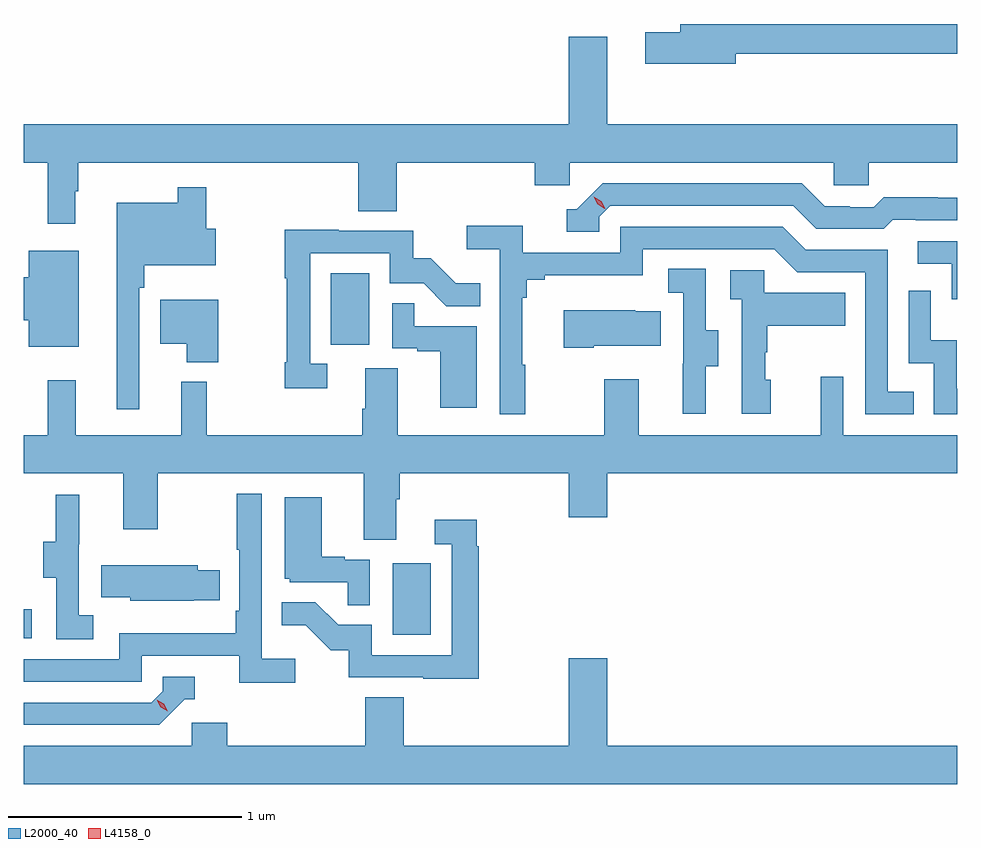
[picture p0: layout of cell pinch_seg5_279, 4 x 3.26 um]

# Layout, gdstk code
import gdstk
lib = gdstk.Library(unit=1e-6, precision=1e-09)
def R(c, l, rs):  # rectangles x0, y0, x1, y1
    for r in rs: c.add(gdstk.rectangle(r[:2], r[2:], *l))
def P(c, l, *ps):  # polygons
    for p in ps: c.add(gdstk.Polygon(p, *l))
L2000_40 = (2000, 40)
L4158_0 = (4158, 0)

pinch_seg5_279 = lib.new_cell('pinch_seg5_279')
R(pinch_seg5_279, L2000_40, [(905.928,896.013,905.962,896.138), (907.508,896.028,907.672,896.335), (907.244,897.27,907.408,897.577)])
P(pinch_seg5_279, L2000_40, [(908.98,898.518),(909.928,898.518),(909.928,898.646),(908.741,898.646),(908.741,898.61),(908.592,898.61),(908.592,898.475),(908.98,898.475)],
  [(906.148,897.929),(906.16,897.929),(906.16,898.052),(907.361,898.052),(907.361,897.844),(907.526,897.844),(907.526,898.052),(908.117,898.052),(908.117,897.954),(908.268,897.954),(908.268,898.052),(909.399,898.052),(909.399,897.954),(909.549,897.954),(909.549,898.052),(909.928,898.052),(909.928,898.216),(908.428,898.216),(908.428,898.591),(908.264,898.591),(908.264,898.216),(905.928,898.216),(905.928,898.052),(906.031,898.052),(906.031,897.789),(906.148,897.789)],
  [(908.394,897.819),(908.442,897.867),(909.225,897.867),(909.324,897.768),(909.613,897.768),(909.652,897.807),(909.751,897.807),(909.751,897.804),(909.928,897.804),(909.928,897.901),(909.846,897.901),(909.846,897.904),(909.613,897.904),(909.571,897.861),(909.468,897.861),(909.468,897.864),(909.361,897.864),(909.262,897.963),(908.409,897.963),(908.298,897.852),(908.255,897.852),(908.255,897.756),(908.394,897.756)],
  [(906.423,897.515),(906.443,897.515),(906.443,897.611),(906.751,897.611),(906.751,897.769),(906.709,897.769),(906.709,897.946),(906.588,897.946),(906.588,897.88),(906.326,897.88),(906.326,896.994),(906.423,896.994)],
  [(908.077,897.185),(908.065,897.185),(908.065,897.473),(908.084,897.473),(908.084,897.55),(908.161,897.55),(908.161,897.569),(908.58,897.569),(908.58,897.681),(909.144,897.681),(909.243,897.582),(909.534,897.582),(909.534,896.973),(909.743,896.973),(909.743,897.069),(909.63,897.069),(909.63,897.678),(909.28,897.678),(909.181,897.777),(908.484,897.777),(908.484,897.666),(908.066,897.666),(908.066,897.782),(907.827,897.782),(907.827,897.68),(907.968,897.68),(907.968,896.973),(908.077,896.973)],
  [(907.228,897.189),(907.155,897.189),(907.155,897.663),(907.497,897.663),(907.497,897.534),(907.641,897.534),(907.739,897.436),(907.883,897.436),(907.883,897.535),(907.779,897.535),(907.672,897.642),(907.596,897.642),(907.596,897.759),(907.277,897.759),(907.277,897.764),(907.047,897.764),(907.047,897.556),(907.054,897.556),(907.054,897.196),(907.047,897.196),(907.047,897.084),(907.228,897.084)],
  [(909.928,897.714),(909.759,897.714),(909.759,897.618),(909.906,897.618),(909.906,897.465),(909.928,897.465)],
  [(906.163,897.673),(905.948,897.673),(905.948,897.56),(905.928,897.56),(905.928,897.377),(905.948,897.377),(905.948,897.263),(906.163,897.263)],
  [(908.851,897.178),(908.905,897.178),(908.905,897.333),(908.85,897.333),(908.85,897.596),(908.691,897.596),(908.691,897.493),(908.754,897.493),(908.754,897.189),(908.753,897.189),(908.753,896.976),(908.851,896.976)],
  [(909.13,897.12),(909.105,897.12),(909.105,897.239),(909.115,897.239),(909.115,897.353),(909.449,897.353),(909.449,897.493),(909.102,897.493),(909.102,897.591),(908.955,897.591),(908.955,897.467),(909.006,897.467),(909.006,896.976),(909.13,896.976)],
  [(909.928,897.082),(909.926,897.082),(909.926,897.29),(909.816,897.29),(909.816,897.502),(909.72,897.502),(909.72,897.192),(909.828,897.192),(909.828,896.973),(909.928,896.973)],
  [(906.76,897.463),(906.512,897.463),(906.512,897.275),(906.626,897.275),(906.626,897.197),(906.76,897.197)],
  [(907.87,897.351),(907.601,897.351),(907.601,897.449),(907.506,897.449),(907.506,897.255),(907.613,897.255),(907.613,897.243),(907.712,897.243),(907.712,897),(907.87,897)],
  [(908.371,897.266),(908.657,897.266),(908.657,897.415),(908.549,897.415),(908.549,897.418),(908.243,897.418),(908.243,897.259),(908.371,897.259)],
  [(907.525,896.608),(907.538,896.608),(907.538,896.72),(908.264,896.72),(908.264,896.532),(908.428,896.532),(908.428,896.72),(909.928,896.72),(909.928,896.884),(909.441,896.884),(909.441,897.133),(909.344,897.133),(909.344,896.884),(908.563,896.884),(908.563,897.124),(908.416,897.124),(908.416,896.884),(907.531,896.884),(907.531,897.17),(907.391,897.17),(907.391,896.996),(907.379,896.996),(907.379,896.884),(906.712,896.884),(906.712,897.112),(906.602,897.112),(906.602,896.884),(906.149,896.884),(906.149,897.118),(906.031,897.118),(906.031,896.884),(905.928,896.884),(905.928,896.72),(906.353,896.72),(906.353,896.481),(906.501,896.481),(906.501,896.72),(907.385,896.72),(907.385,896.434),(907.525,896.434)],
  [(907.09,895.924),(906.948,895.924),(906.948,896.632),(906.84,896.632),(906.84,896.392),(906.852,896.392),(906.852,896.131),(906.835,896.131),(906.835,896.035),(906.336,896.035),(906.336,895.923),(905.928,895.923),(905.928,895.827),(906.432,895.827),(906.432,895.938),(906.851,895.938),(906.851,895.822),(907.09,895.822)],
  [(906.226,896.111),(906.162,896.111),(906.162,896.415),(906.164,896.415),(906.164,896.629),(906.065,896.629),(906.065,896.427),(906.011,896.427),(906.011,896.272),(906.066,896.272),(906.066,896.008),(906.226,896.008)],
  [(907.41,896.349),(907.304,896.349),(907.304,896.362),(907.204,896.362),(907.204,896.617),(907.046,896.617),(907.046,896.268),(907.068,896.268),(907.068,896.253),(907.315,896.253),(907.315,896.155),(907.41,896.155)],
  [(907.877,896.408),(907.87,896.408),(907.87,896.521),(907.689,896.521),(907.689,896.415),(907.761,896.415),(907.761,895.941),(907.419,895.941),(907.419,896.07),(907.275,896.07),(907.177,896.168),(907.033,896.168),(907.033,896.069),(907.137,896.069),(907.244,895.962),(907.321,895.962),(907.321,895.845),(907.639,895.845),(907.639,895.84),(907.877,895.84)],
  [(906.656,896.175),(906.767,896.175),(906.767,896.304),(906.673,896.304),(906.673,896.326),(906.259,896.326),(906.259,896.189),(906.384,896.189),(906.384,896.174),(906.656,896.174)],
  [(909.928,895.552),(908.428,895.552),(908.428,895.927),(908.264,895.927),(908.264,895.552),(907.556,895.552),(907.556,895.76),(907.391,895.76),(907.391,895.552),(906.8,895.552),(906.8,895.65),(906.648,895.65),(906.648,895.552),(905.928,895.552),(905.928,895.388),(909.928,895.388)],
  [(906.618,895.752),(906.661,895.752),(906.661,895.848),(906.522,895.848),(906.522,895.785),(906.474,895.737),(905.928,895.737),(905.928,895.641),(906.507,895.641)])
P(pinch_seg5_279, L4158_0, [(908.418,897.854),(908.388,897.873),(908.371,897.905),(908.371,897.905),(908.371,897.905),(908.402,897.887),(908.419,897.855),(908.419,897.854)],
  [(906.545,895.699),(906.514,895.718),(906.497,895.75),(906.497,895.75),(906.497,895.75),(906.528,895.731),(906.545,895.699),(906.545,895.699)])

lib.write_gds('pinch_seg5_279.gds')
